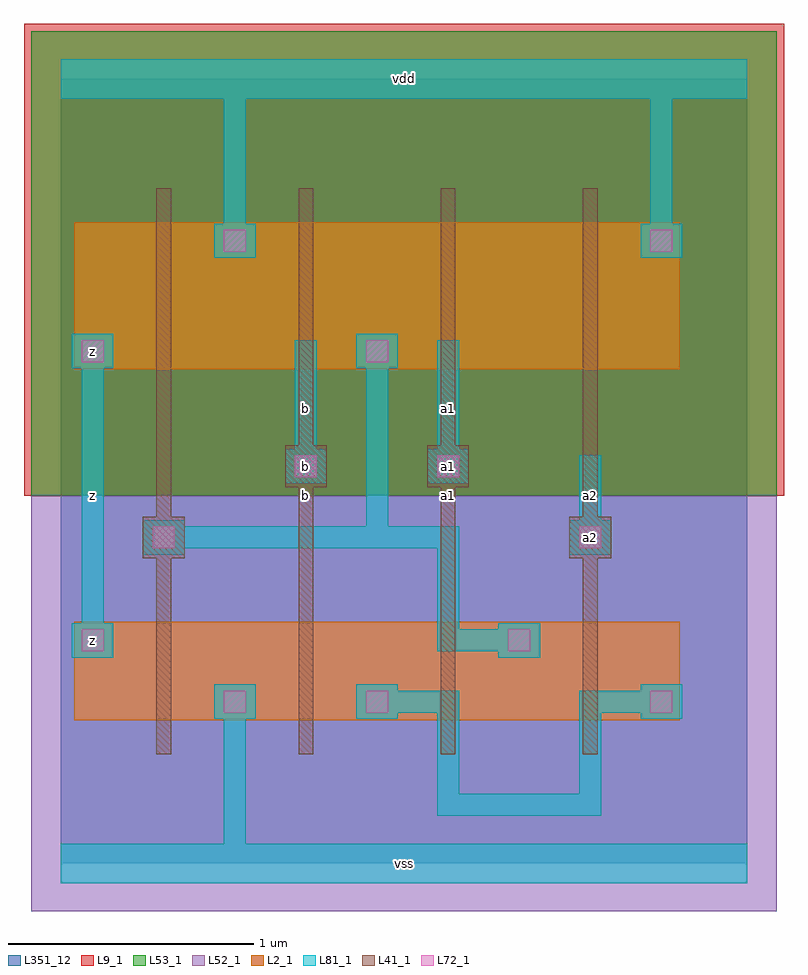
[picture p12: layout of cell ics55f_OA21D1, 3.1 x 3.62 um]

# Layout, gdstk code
import gdstk
lib = gdstk.Library(unit=1e-6, precision=1e-09)
def R(c, l, rs):  # rectangles x0, y0, x1, y1
    for r in rs: c.add(gdstk.rectangle(r[:2], r[2:], *l))
def A(c, l, x, y, w, h, nx, ny, dx, dy):  # array of equal rectangles
    R(c, l, [(x+i*dx, y+j*dy, x+i*dx+w, y+j*dy+h) for i in range(nx) for j in range(ny)])
def P(c, l, *ps):  # polygons
    for p in ps: c.add(gdstk.Polygon(p, *l))
L0_0 = (0, 0)
L2_1 = (2, 1)
L9_1 = (9, 1)
L41_1 = (41, 1)
L52_1 = (52, 1)
L53_1 = (53, 1)
L72_1 = (72, 1)
L81_1 = (81, 1)
L351_12 = (351, 12)

ics55f_oa21d1 = lib.new_cell('ics55f_OA21D1')
A(ics55f_oa21d1, L2_1, 0.055, 0.585, 0.73, 0.4, 4, 1, 0.58, 0)
A(ics55f_oa21d1, L2_1, 0.055, 2.015, 0.73, 0.6, 4, 1, 0.58, 0)
R(ics55f_oa21d1, L2_1, [(0.635,0.585,0.785,0.735), (1.215,0.585,1.365,0.735), (2.375,0.585,2.525,0.735), (0.055,0.835,0.205,0.985), (1.795,0.835,1.945,0.985), (0.055,2.015,0.205,2.165), (1.215,2.015,1.365,2.165), (0.635,2.465,0.785,2.615), (2.375,2.465,2.525,2.615)])
R(ics55f_oa21d1, L9_1, [(-0.15,1.5,2.95,3.425)])
A(ics55f_oa21d1, L41_1, 0.39, 0.445, 0.06, 0.68, 4, 1, 0.58, 0)
A(ics55f_oa21d1, L41_1, 0.97, 0.88, 0.06, 1.24, 3, 1, 0.58, 0)
A(ics55f_oa21d1, L41_1, 0.39, 1.875, 0.06, 0.88, 4, 1, 0.58, 0)
R(ics55f_oa21d1, L41_1, [(0.39,0.88,0.45,1.36), (0.335,1.245,0.505,1.415), (2.075,1.245,2.245,1.415), (0.39,1.3,0.45,2.12), (0.915,1.535,1.085,1.705), (1.495,1.535,1.665,1.705)])
R(ics55f_oa21d1, L52_1, [(-0.12,-0.195,2.92,1.5)])
R(ics55f_oa21d1, L53_1, [(-0.12,1.5,2.92,3.395)])
R(ics55f_oa21d1, L72_1, [(0.665,0.615,0.755,0.705), (1.245,0.615,1.335,0.705), (2.405,0.615,2.495,0.705), (0.085,0.865,0.175,0.955), (1.825,0.865,1.915,0.955), (0.375,1.285,0.465,1.375), (2.115,1.285,2.205,1.375), (0.955,1.575,1.045,1.665), (1.535,1.575,1.625,1.665), (0.085,2.045,0.175,2.135), (1.245,2.045,1.335,2.135), (0.665,2.495,0.755,2.585), (2.405,2.495,2.495,2.585)])
P(ics55f_oa21d1, L81_1, [(0,-0.08),(0,0.08),(0.665,0.08),(0.665,0.59),(0.625,0.59),(0.625,0.73),(0.795,0.73),(0.795,0.59),(0.755,0.59),(0.755,0.08),(2.8,0.08),(2.8,-0.08)],
  [(1.535,0.195),(1.535,0.615),(1.375,0.615),(1.375,0.59),(1.205,0.59),(1.205,0.73),(1.375,0.73),(1.375,0.705),(1.625,0.705),(1.625,0.285),(2.115,0.285),(2.115,0.705),(2.365,0.705),(2.365,0.73),(2.535,0.73),(2.535,0.59),(2.365,0.59),(2.365,0.615),(2.205,0.615),(2.205,0.195)],
  [(2.075,1.26),(2.075,1.4),(2.115,1.4),(2.115,1.665),(2.205,1.665),(2.205,1.4),(2.245,1.4),(2.245,1.26)],
  [(0.915,1.55),(0.915,1.69),(0.955,1.69),(0.955,2.135),(1.045,2.135),(1.045,1.69),(1.085,1.69),(1.085,1.55)],
  [(1.495,1.55),(1.495,1.69),(1.535,1.69),(1.535,2.135),(1.625,2.135),(1.625,1.69),(1.665,1.69),(1.665,1.55)],
  [(0.045,0.84),(0.045,0.98),(0.085,0.98),(0.085,2.02),(0.045,2.02),(0.045,2.16),(0.215,2.16),(0.215,2.02),(0.175,2.02),(0.175,0.98),(0.215,0.98),(0.215,0.84)],
  [(1.785,0.84),(1.785,0.865),(1.535,0.865),(1.535,1.285),(0.505,1.285),(0.505,1.26),(0.335,1.26),(0.335,1.4),(0.505,1.4),(0.505,1.375),(1.245,1.375),(1.245,2.02),(1.205,2.02),(1.205,2.16),(1.375,2.16),(1.375,2.02),(1.335,2.02),(1.335,1.375),(1.625,1.375),(1.625,0.955),(1.785,0.955),(1.785,0.98),(1.955,0.98),(1.955,0.84)],
  [(0.625,2.47),(0.625,2.61),(0.665,2.61),(0.665,3.12),(0,3.12),(0,3.28),(2.8,3.28),(2.8,3.12),(2.495,3.12),(2.495,2.61),(2.535,2.61),(2.535,2.47),(2.365,2.47),(2.365,2.61),(2.405,2.61),(2.405,3.12),(0.755,3.12),(0.755,2.61),(0.795,2.61),(0.795,2.47)])
R(ics55f_oa21d1, L351_12, [(0,0,2.8,3.2)])
ics55f_oa21d1.add(gdstk.FlexPath([(0.045,0.24),(2.535,0.24)], 0, ends="flush", simple_path=True, layer=0, datatype=0))  # L0_0
ics55f_oa21d1.add(gdstk.FlexPath([(0.045,0.66),(2.535,0.66)], 0, ends="flush", simple_path=True, layer=0, datatype=0))  # L0_0
ics55f_oa21d1.add(gdstk.FlexPath([(0.045,0.91),(2.535,0.91)], 0, ends="flush", simple_path=True, layer=0, datatype=0))  # L0_0
ics55f_oa21d1.add(gdstk.FlexPath([(0.045,1.33),(2.535,1.33)], 0, ends="flush", simple_path=True, layer=0, datatype=0))  # L0_0
ics55f_oa21d1.add(gdstk.FlexPath([(0.045,1.62),(2.535,1.62)], 0, ends="flush", simple_path=True, layer=0, datatype=0))  # L0_0
ics55f_oa21d1.add(gdstk.FlexPath([(0.045,2.09),(2.535,2.09)], 0, ends="flush", simple_path=True, layer=0, datatype=0))  # L0_0
ics55f_oa21d1.add(gdstk.FlexPath([(0.045,2.54),(2.535,2.54)], 0, ends="flush", simple_path=True, layer=0, datatype=0))  # L0_0
ics55f_oa21d1.add(gdstk.FlexPath([(0.045,2.96),(2.535,2.96)], 0, ends="flush", simple_path=True, layer=0, datatype=0))  # L0_0
ics55f_oa21d1.add(gdstk.FlexPath([(0.13,0.03),(0.13,3.17)], 0, ends="flush", simple_path=True, layer=0, datatype=0))  # L0_0
ics55f_oa21d1.add(gdstk.FlexPath([(0.42,0.03),(0.42,3.17)], 0, ends="flush", simple_path=True, layer=0, datatype=0))  # L0_0
ics55f_oa21d1.add(gdstk.FlexPath([(0.71,0.03),(0.71,3.17)], 0, ends="flush", simple_path=True, layer=0, datatype=0))  # L0_0
ics55f_oa21d1.add(gdstk.FlexPath([(1,0.03),(1,3.17)], 0, ends="flush", simple_path=True, layer=0, datatype=0))  # L0_0
ics55f_oa21d1.add(gdstk.FlexPath([(1.29,0.03),(1.29,3.17)], 0, ends="flush", simple_path=True, layer=0, datatype=0))  # L0_0
ics55f_oa21d1.add(gdstk.FlexPath([(1.58,0.03),(1.58,3.17)], 0, ends="flush", simple_path=True, layer=0, datatype=0))  # L0_0
ics55f_oa21d1.add(gdstk.FlexPath([(1.87,0.03),(1.87,3.17)], 0, ends="flush", simple_path=True, layer=0, datatype=0))  # L0_0
ics55f_oa21d1.add(gdstk.FlexPath([(2.16,0.03),(2.16,3.17)], 0, ends="flush", simple_path=True, layer=0, datatype=0))  # L0_0
ics55f_oa21d1.add(gdstk.FlexPath([(2.45,0.03),(2.45,3.17)], 0, ends="flush", simple_path=True, layer=0, datatype=0))  # L0_0
ics55f_oa21d1.add(gdstk.Label('z', (0.13,0.91), layer=2, texttype=1))
ics55f_oa21d1.add(gdstk.Label('z', (0.13,2.09), layer=2, texttype=1))
ics55f_oa21d1.add(gdstk.Label('a2', (2.16,1.5), layer=41, texttype=1))
ics55f_oa21d1.add(gdstk.Label('a2', (2.16,1.33), layer=41, texttype=1))
ics55f_oa21d1.add(gdstk.Label('a1', (1.58,1.5), layer=41, texttype=1))
ics55f_oa21d1.add(gdstk.Label('a1', (1.58,1.62), layer=41, texttype=1))
ics55f_oa21d1.add(gdstk.Label('b', (1,1.5), layer=41, texttype=1))
ics55f_oa21d1.add(gdstk.Label('b', (1,1.62), layer=41, texttype=1))
ics55f_oa21d1.add(gdstk.Label('a2', (2.16,1.33), layer=72, texttype=1))
ics55f_oa21d1.add(gdstk.Label('a1', (1.58,1.62), layer=72, texttype=1))
ics55f_oa21d1.add(gdstk.Label('b', (1,1.62), layer=72, texttype=1))
ics55f_oa21d1.add(gdstk.Label('z', (0.13,0.91), layer=72, texttype=1))
ics55f_oa21d1.add(gdstk.Label('z', (0.13,2.09), layer=72, texttype=1))
ics55f_oa21d1.add(gdstk.Label('a2', (2.16,1.33), layer=81, texttype=6))
ics55f_oa21d1.add(gdstk.Label('a2', (2.16,1.475), layer=81, texttype=6))
ics55f_oa21d1.add(gdstk.Label('a1', (1.58,1.62), layer=81, texttype=6))
ics55f_oa21d1.add(gdstk.Label('a1', (1.58,1.855), layer=81, texttype=6))
ics55f_oa21d1.add(gdstk.Label('b', (1,1.62), layer=81, texttype=6))
ics55f_oa21d1.add(gdstk.Label('b', (1,1.855), layer=81, texttype=6))
ics55f_oa21d1.add(gdstk.Label('z', (0.13,0.91), layer=81, texttype=6))
ics55f_oa21d1.add(gdstk.Label('z', (0.13,2.09), layer=81, texttype=6))
ics55f_oa21d1.add(gdstk.Label('z', (0.13,1.5), layer=81, texttype=6))
ics55f_oa21d1.add(gdstk.Label('vss', (1.4,0), layer=81, texttype=6))
ics55f_oa21d1.add(gdstk.Label('vdd', (1.4,3.2), layer=81, texttype=6))

lib.write_gds('ics55f_OA21D1.gds')
